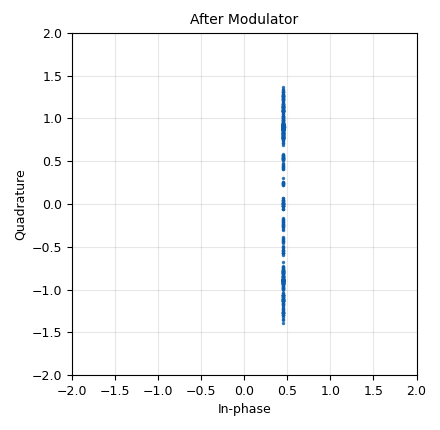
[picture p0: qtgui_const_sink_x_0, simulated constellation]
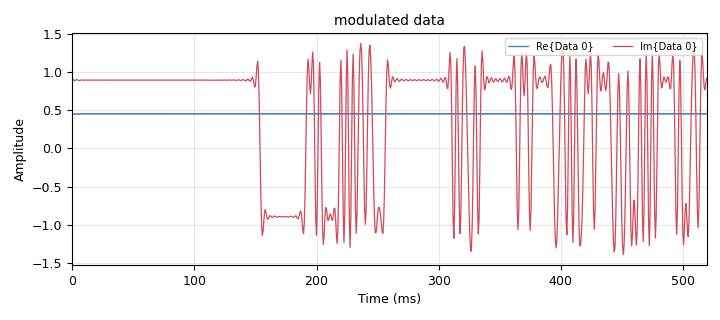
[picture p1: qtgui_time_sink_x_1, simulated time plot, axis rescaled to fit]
options:
  parameters:
    author: Abraxas3d
    copyright: Public Domain
    description: BPSK modulator for the Personal Locator Beacon signal for Deviations Capture the Flag for GNU Radio Conference 2020.
    generate_options: qt_gui
    id: top_block
    output_language: python
    title: BPSK PLB Uplink
  states: {}

blocks:
- name: carrier
  id: variable
  parameters:
    value: '100000'
  states: {}
- name: doppler
  id: variable
  parameters:
    value: '5974'
  states: {}
- name: excess_bw
  id: variable
  parameters:
    value: '0.35'
  states: {}
- name: my_bpsk
  id: variable_constellation_rect
  parameters:
    const_points: '[0.45 + 0.89j, 0.45 - 0.89j]'
    imag_sect: '2'
    real_sect: '1'
    rot_sym: '1'
    sym_map: '[0, 1]'
    w_imag_sect: '1'
    w_real_sect: '1'
  states: {}
- name: my_hdr
  id: variable_header_format_default
  parameters:
    access_code: '''0'''
    bps: '1'
    threshold: '3'
  states: {}
- name: nfilts
  id: variable
  parameters:
    value: '32'
  states: {}
- name: pi
  id: variable
  parameters:
    value: '3.14159'
  states: {}
- name: plb_frequency
  id: variable
  parameters:
    value: 406040000 + doppler
  states: {}
- name: rrc_taps
  id: variable
  parameters:
    value: firdes.root_raised_cosine(nfilts, nfilts, 1.0/float(sps), 0.35, 11*sps*nfilts)
  states: {}
- name: samp_rate
  id: variable
  parameters:
    value: 400*sps
  states: {}
- name: sps
  id: variable
  parameters:
    value: '4'
  states: {}
- name: analog_sig_source_x_0
  id: analog_sig_source_x
  parameters:
    amp: '1'
    freq: carrier+doppler
    offset: '0'
    phase: '0'
    samp_rate: '250000'
    type: complex
    waveform: analog.GR_COS_WAVE
  states: {}
- name: blocks_complex_to_float_0
  id: blocks_complex_to_float
  parameters: {}
  states: {}
- name: blocks_message_debug_0
  id: blocks_message_debug
  parameters: {}
  states: {state: disabled}
- name: blocks_multiply_xx_0
  id: blocks_multiply_xx
  parameters:
    type: complex
  states: {}
- name: blocks_null_sink_0
  id: blocks_null_sink
  parameters:
    type: complex
  states: {state: disabled}
- name: blocks_stream_to_tagged_stream_0
  id: blocks_stream_to_tagged_stream
  parameters:
    len_tag_key: '"packet_len"'
    packet_len: 18+3
    type: byte
  states: {}
- name: blocks_stream_to_tagged_stream_1
  id: blocks_stream_to_tagged_stream
  parameters:
    len_tag_key: '"packet_len"'
    packet_len: '8'
    type: byte
  states: {}
- name: blocks_tagged_stream_mux_0
  id: blocks_tagged_stream_mux
  parameters:
    lengthtagname: packet_len
    ninputs: '2'
    type: byte
  states: {}
- name: blocks_tagged_stream_to_pdu_0
  id: blocks_tagged_stream_to_pdu
  parameters:
    tag: packet_len
    type: byte
  states: {state: disabled}
- name: blocks_vector_source_x_0
  id: blocks_vector_source_x
  parameters:
    repeat: 'False'
    type: byte
    vector: '[255 , 254 , 47, 213, 39, 128, 0, 1, 77, 0, 8, 128, 202, 196, 27, 117, 64, 185, 0,0,0]'
  states: {}
- name: blocks_vector_source_x_1
  id: blocks_vector_source_x
  parameters:
    repeat: 'False'
    type: byte
    vector: '[0,0,0,0,0,0,0,0]'
  states: {}
- name: blocks_wavfile_sink_0
  id: blocks_wavfile_sink
  parameters:
    bits_per_sample: '8'
    file: /home/abraxas3d/Documents/Deviations/FridayNight9.wav
    nchan: '2'
    samp_rate: '250000'
  states: {}
- name: digital_constellation_modulator_0
  id: digital_constellation_modulator
  parameters:
    comment: |-
      400 bits per second
      times sps
      gives the sample rate.
    constellation: my_bpsk
    differential: 'False'
    excess_bw: excess_bw
    samples_per_symbol: sps
  states: {}
- name: qtgui_const_sink_x_0
  id: qtgui_const_sink_x
  parameters:
    grid: 'True'
    gui_hint: 1,0
    name: After Modulator
    size: '832'
    type: complex
  states: {}
- name: qtgui_time_sink_x_1
  id: qtgui_time_sink_x
  parameters:
    gui_hint: 4,0
    name: modulated data
    size: '832'
    srate: samp_rate
    type: complex
  states: {}
- name: rational_resampler_xxx_0
  id: rational_resampler_xxx
  parameters:
    decim: '4'
    interp: 4*250000//samp_rate
    taps: ''
    type: ccc
  states: {}
- name: uhd_usrp_sink_0
  id: uhd_usrp_sink
  parameters:
    ant0: TX/RX
    center_freq0: '430000000'
    dev_args: '""'
    gain0: '0'
    len_tag_name: ''
    norm_gain0: 'False'
    samp_rate: '250000'
    sync: sync
    type: fc32
  states: {}

connections:
- [analog_sig_source_x_0, '0', blocks_multiply_xx_0, '1']
- [blocks_complex_to_float_0, '0', blocks_wavfile_sink_0, '0']
- [blocks_complex_to_float_0, '1', blocks_wavfile_sink_0, '1']
- [blocks_multiply_xx_0, '0', blocks_complex_to_float_0, '0']
- [blocks_multiply_xx_0, '0', blocks_null_sink_0, '0']
- [blocks_multiply_xx_0, '0', uhd_usrp_sink_0, '0']
- [blocks_stream_to_tagged_stream_0, '0', blocks_tagged_stream_mux_0, '1']
- [blocks_stream_to_tagged_stream_1, '0', blocks_tagged_stream_mux_0, '0']
- [blocks_tagged_stream_mux_0, '0', blocks_tagged_stream_to_pdu_0, '0']
- [blocks_tagged_stream_mux_0, '0', digital_constellation_modulator_0, '0']
- [blocks_tagged_stream_to_pdu_0, pdus, blocks_message_debug_0, print_pdu]
- [blocks_vector_source_x_0, '0', blocks_stream_to_tagged_stream_0, '0']
- [blocks_vector_source_x_1, '0', blocks_stream_to_tagged_stream_1, '0']
- [digital_constellation_modulator_0, '0', qtgui_const_sink_x_0, '0']
- [digital_constellation_modulator_0, '0', qtgui_time_sink_x_1, '0']
- [digital_constellation_modulator_0, '0', rational_resampler_xxx_0, '0']
- [rational_resampler_xxx_0, '0', blocks_multiply_xx_0, '0']

metadata:
  file_format: 1
